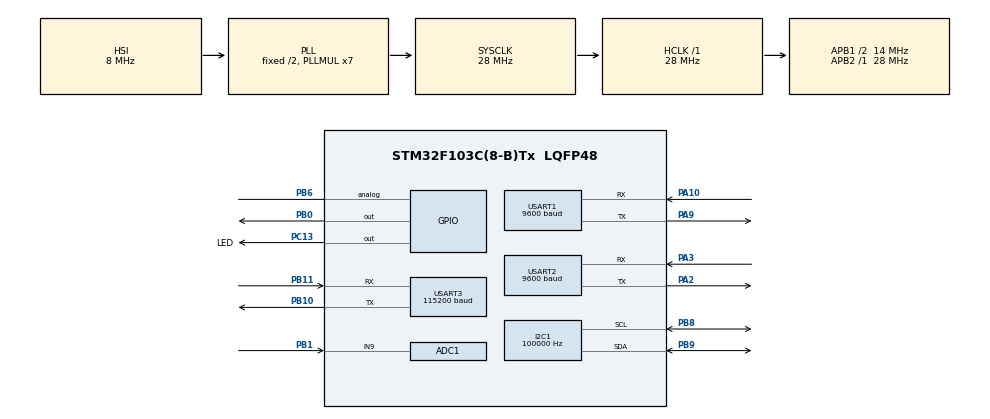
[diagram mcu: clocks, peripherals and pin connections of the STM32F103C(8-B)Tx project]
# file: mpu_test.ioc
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ADC1.Channel-5\#ChannelRegularConversion=ADC_CHANNEL_9
ADC1.ContinuousConvMode=ENABLE
ADC1.DataAlign=ADC_DATAALIGN_RIGHT
ADC1.DiscontinuousConvMode=DISABLE
ADC1.EnableAnalogWatchDog=false
ADC1.EnableRegularConversion=ENABLE
ADC1.ExternalTrigConvEdgeChoice=NONE
ADC1.InjNumberOfConversion=0
ADC1.NbrOfConversion=1
ADC1.NbrOfConversionFlag=1
ADC1.Rank-5\#ChannelRegularConversion=1
ADC1.SamplingTime-5\#ChannelRegularConversion=ADC_SAMPLETIME_1CYCLE_5
ADC1.ScanConvMode=ADC_SCAN_DISABLE
ADC1.master=1
I2C1.ClockSpeed=100000
I2C1.I2C_Mode=I2C_Standard
Mcu.Family=STM32F1
Mcu.Name=STM32F103C(8-B)Tx
Mcu.Package=LQFP48
NVIC.PriorityGroup=NVIC_PRIORITYGROUP_4
NVIC.USART1_IRQn=true\:0\:0\:true\:false\:true
NVIC.USART2_IRQn=true\:0\:0\:false\:false\:true
NVIC.USART3_IRQn=true\:0\:0\:false\:false\:true
PA10.Mode=Asynchronous
PA10.Signal=USART1_RX
PA13.Mode=Serial_Wire
PA13.Signal=SYS_JTMS-SWDIO
PA14.Mode=Serial_Wire
PA14.Signal=SYS_JTCK-SWCLK
PA2.Mode=Asynchronous
PA2.Signal=USART2_TX
PA3.Mode=Asynchronous
PA3.Signal=USART2_RX
PA9.Mode=Asynchronous
PA9.Signal=USART1_TX
PB0.Signal=GPIO_Output
PB1.Signal=ADCx_IN9
PB10.Mode=Asynchronous
PB10.Signal=USART3_TX
PB11.Mode=Asynchronous
PB11.Signal=USART3_RX
PB6.Signal=GPIO_Analog
PB8.Mode=I2C
PB8.Signal=I2C1_SCL
PB9.Mode=I2C
PB9.Signal=I2C1_SDA
PC13-TAMPER-RTC.GPIO_Label=LED
PC13-TAMPER-RTC.GPIO_Speed=GPIO_SPEED_FREQ_MEDIUM
PC13-TAMPER-RTC.Signal=GPIO_Output
ProjectManager.HeapSize=0x200
ProjectManager.StackSize=0x400
ProjectManager.TargetToolchain=MDK-ARM V5
RCC.AHBFreq_Value=28000000
RCC.APB1CLKDivider=RCC_HCLK_DIV2
RCC.APB1Freq_Value=14000000
RCC.APB1TimFreq_Value=28000000
RCC.APB2Freq_Value=28000000
RCC.APB2TimFreq_Value=28000000
RCC.HCLKFreq_Value=28000000
RCC.PLLMUL=RCC_PLL_MUL7
RCC.SYSCLKFreq_VALUE=28000000
RCC.SYSCLKSource=RCC_SYSCLKSOURCE_PLLCLK
RCC.USBFreq_Value=28000000
SH.ADCx_IN9.0=ADC1_IN9,IN9
USART1.BaudRate=9600
USART2.BaudRate=9600
USART3.BaudRate=115200
VP_IWDG_VS_IWDG.Mode=IWDG_Activate
board=mpu_test

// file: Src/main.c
/**
  ******************************************************************************
  * File Name          : main.c
  * Description        : Main program body
  ******************************************************************************
  *
  * COPYRIGHT(c) 2017 STMicroelectronics
  *
  * Redistribution and use in source and binary forms, with or without modification,
  * are permitted provided that the following conditions are met:
  *   1. Redistributions of source code must retain the above copyright notice,
  *      this list of conditions and the following disclaimer.
  *   2. Redistributions in binary form must reproduce the above copyright notice,
  *      this list of conditions and the following disclaimer in the documentation
  *      and/or other materials provided with the distribution.
  *   3. Neither the name of STMicroelectronics nor the names of its contributors
  *      may be used to endorse or promote products derived from this software
  *      without specific prior written permission.
  *
  * THIS SOFTWARE IS PROVIDED BY THE COPYRIGHT HOLDERS AND CONTRIBUTORS "AS IS"
  * AND ANY EXPRESS OR IMPLIED WARRANTIES, INCLUDING, BUT NOT LIMITED TO, THE
  * IMPLIED WARRANTIES OF MERCHANTABILITY AND FITNESS FOR A PARTICULAR PURPOSE ARE
  * DISCLAIMED. IN NO EVENT SHALL THE COPYRIGHT HOLDER OR CONTRIBUTORS BE LIABLE
  * FOR ANY DIRECT, INDIRECT, INCIDENTAL, SPECIAL, EXEMPLARY, OR CONSEQUENTIAL
  * DAMAGES (INCLUDING, BUT NOT LIMITED TO, PROCUREMENT OF SUBSTITUTE GOODS OR
  * SERVICES; LOSS OF USE, DATA, OR PROFITS; OR BUSINESS INTERRUPTION) HOWEVER
  * CAUSED AND ON ANY THEORY OF LIABILITY, WHETHER IN CONTRACT, STRICT LIABILITY,
  * OR TORT (INCLUDING NEGLIGENCE OR OTHERWISE) ARISING IN ANY WAY OUT OF THE USE
  * OF THIS SOFTWARE, EVEN IF ADVISED OF THE POSSIBILITY OF SUCH DAMAGE.
  *
  ******************************************************************************
  */
#include "stm32f1xx_hal.h"

/* USER CODE BEGIN Includes */
#include <stdio.h>
#include <stdbool.h>
//#include <tcp_com.h>
#include <MPU6050.h>
#include <rover_gps.h>
#include <tm_stm32f4_bmp180.h>

#define INDENT_SPACES "  "

/* USER CODE END Includes */

ADC_HandleTypeDef hadc1;

I2C_HandleTypeDef hi2c1;

IWDG_HandleTypeDef hiwdg;

UART_HandleTypeDef huart1;
UART_HandleTypeDef huart2;
UART_HandleTypeDef huart3;

/* USER CODE BEGIN PV */
/* Private variables ---------------------------------------------------------*/
//IMU VARS
imu_data_t data_pack;
bool imu_data_ready = false;
uint_fast32_t g_imu_tick = 0;
uint_fast32_t g_mag_tick = 0;
extern imu_data_t data_buffer;
int g_imu_condition = 1;

//GPS VARS
int i=0;
char buffer[100];
int len;
char Rx_indx, Rx_data[2], Rx_Buffer[100], Transfer_cplt, flag;
TM_GPS_t g_GPS_Data;
TM_GPS_Result_t result, current;
TM_GPS_Float_t GPS_Float;
TM_GPS_Distance_t GPS_Distance;
extern TM_GPS_Data_t TM_GPS_INT_Data;
extern TM_GPS_t GPS_Data;

int uart_listen = 1;
int uart_available = 0;

//BMP VARS
TM_BMP180_t bmp_data_pack;
uint_fast32_t g_bmp_tick = 0;
uint_fast32_t g_bmp_TR = 0;
uint_fast32_t g_bmp_PR = 0;
uint_fast8_t g_bmp_pos = 0;
uint32_t bmp_test[] = {0,0,0};
uint32_t adc_data[2];
char Rx_indx2, Rx_data2[2], Rx_Buffer2[30], Transfer_cplt2;
float probe_temp;
float probe_hum;

//UDP VARS
uint_fast32_t g_udp_tick = 0;

uint_fast8_t g_i2c_busy = 0;
unsigned int LED_POS = 0;
int cnt = 0;

//Auto vars
uint_fast32_t g_auto_tick = 0;
float desiredHeading = 0;
float errorHeading = 0;
float errorDistance = 10;
float KH = 3;
int controlDir = 0;
int controlSpeed = 0;

int new_gps_data_occured = 0;

float desiredCoordinate[10][2];
float fsCoordinate[10][2];

int coordinatesIndex = 0;
int fs_coordinatesIndex = 0;

char Rx_indx3, Rx_data3[2], Rx_Buffer3[30], Transfer_cplt3;
float lat3;
float lon3;

uint32_t fs_timer;
uint8_t fs_preactive_flag = 0;

uint8_t printf_buffer[] = {"B100000E-"};

bool auto_active_flag = false;
bool fs_active_flag = false;
bool auto_delete_flag = false;
bool auto_mission_flag = false;
uint8_t mission_indicator = 0;
int mission_heading_buffer = 0;
bool turnaround_flag = false;
bool target_locked_flag = false;
int target_direction = 0;

uint32_t g_adc_tick = 0;

float fs_distance = 0;
uint32_t g_fs_tick = 0;

uint32_t batt_raw;
float batt;

float initial_coordinates[] = {38.00,-111.00};

uint8_t sc_mode = 'd';
/* USER CODE END PV */

void SystemClock_Config(void);
void Error_Handler(void);
static void MX_GPIO_Init(void);
static void MX_I2C1_Init(void);
static void MX_USART1_UART_Init(void);
static void MX_USART3_UART_Init(void);
static void MX_USART2_UART_Init(void);
static void MX_IWDG_Init(void);
static void MX_ADC1_Init(void);

/* USER CODE BEGIN PFP */
/* Private function prototypes -----------------------------------------------*/
void send_message_to_mc(void);
bool coor_check(float latitude, float longitude);
/* USER CODE END PFP */

/* USER CODE BEGIN 0 */
uint32_t led_timer = 0;
uint8_t led_counter = 0;
uint8_t overshoot_counter = 0;

/* USER CODE END 0 */

int main(void)
{

  /* USER CODE BEGIN 1 */
	char data_str;
	int returnValue = 10;

  /* USER CODE END 1 */

  /* MCU Configuration----------------------------------------------------------*/

  /* Reset of all peripherals, Initializes the Flash interface and the Systick. */
  HAL_Init();

  /* Configure the system clock */
  SystemClock_Config();

  /* Initialize all configured peripherals */
  MX_GPIO_Init();
  MX_I2C1_Init();
  MX_USART1_UART_Init();
  MX_USART3_UART_Init();
  MX_USART2_UART_Init();
  MX_IWDG_Init();
  MX_ADC1_Init();

  /* USER CODE BEGIN 2 */
	imu_begin(&hi2c1, 20u, IMU_GYRO_RANGE_250, IMU_ACC_RANGE_2);
	TM_BMP180_Init(&hi2c1 , &bmp_data_pack);

	HAL_UART_Receive_IT(&huart1, Rx_data, 1);   //activate uart rx interrupt avery time receiving 1 byte
	HAL_UART_Receive_IT(&huart2, Rx_data2, 1);
	HAL_UART_Receive_IT(&huart3, Rx_data3, 1);

  /* USER CODE END 2 */

  /* Infinite loop */
  while (1)
  {

  /* USER CODE BEGIN 3 */
		////////////////////////////////////AUTONOMUS///////////////////////////////////////////

		if(HAL_GetTick() >= led_timer)
		{
			led_timer = HAL_GetTick() + 100;
			if(turnaround_flag)
			{
				sc_mode = 't';
				if((led_counter & 2) == 0)
				{
					HAL_GPIO_WritePin(LED_GPIO_Port, LED_Pin, GPIO_PIN_RESET);
				}
				else
				{
					HAL_GPIO_WritePin(LED_GPIO_Port, LED_Pin, GPIO_PIN_SET);
				}
			}
			else if(auto_active_flag)
			{
				sc_mode = 'a';
				switch(led_counter)
				{
					case 0:
						HAL_GPIO_WritePin(LED_GPIO_Port, LED_Pin, GPIO_PIN_RESET);
						break;
					case 1:
						HAL_GPIO_WritePin(LED_GPIO_Port, LED_Pin, GPIO_PIN_SET);
						break;
				}
			}
			else if(fs_active_flag)
			{
				sc_mode = 'f';
				switch(led_counter)
				{
					case 0:
						HAL_GPIO_WritePin(LED_GPIO_Port, LED_Pin, GPIO_PIN_RESET);
						break;
					case 1:
						HAL_GPIO_WritePin(LED_GPIO_Port, LED_Pin, GPIO_PIN_SET);
						break;
					case 2:
						HAL_GPIO_WritePin(LED_GPIO_Port, LED_Pin, GPIO_PIN_RESET);
						break;
					case 3:
						HAL_GPIO_WritePin(LED_GPIO_Port, LED_Pin, GPIO_PIN_SET);
						break;
				}
			}
			else
			{
				sc_mode = 'd';
				switch(led_counter)
				{
					case 0:
						HAL_GPIO_WritePin(LED_GPIO_Port, LED_Pin, GPIO_PIN_RESET);
						break;
					case 5:
						HAL_GPIO_WritePin(LED_GPIO_Port, LED_Pin, GPIO_PIN_SET);
						break;
				}
			}

			if(led_counter >= 9)
			{
				led_counter = 0;
			}
			else
			{
				led_counter++;
			}
		}

		if (((HAL_GetTick() - g_auto_tick) > 100) && (auto_active_flag || fs_active_flag))
		{
			g_auto_tick = HAL_GetTick();
//			if(target_locked_flag)
//			{
//				desiredHeading = target_direction + (int)data_buffer.imu_data_Z;
//				turnaround_flag = false;
//			}
//			else if(turnaround_flag)
//			{
//				desiredHeading = (int)(data_buffer.imu_data_Z + 90) % 360;
//				int heading_error =  mission_heading_buffer - data_buffer.imu_data_Z;
//				if((heading_error > -15) && (heading_error < -5))
//				{
//					turnaround_flag = false;
//					mission_indicator = 0;
//				}
//			}
			if(auto_active_flag)
			{
				if((new_gps_data_occured == 1) && (coor_check(TM_GPS_INT_Data.Latitude, TM_GPS_INT_Data.Longitude)))
				{
					new_gps_data_occured = 0;
					desiredHeading = 360 + atan2(desiredCoordinate[0][1] - TM_GPS_INT_Data.Longitude, desiredCoordinate[0][0] - TM_GPS_INT_Data.Latitude) * (180/3.1416);
					errorDistance = sqrt(((TM_GPS_INT_Data.Latitude - desiredCoordinate[0][0]) * (TM_GPS_INT_Data.Latitude - desiredCoordinate[0][0])) + ((TM_GPS_INT_Data.Longitude - desiredCoordinate[0][1]) * (TM_GPS_INT_Data.Longitude - desiredCoordinate[0][1]))) * 111000;

					if(errorDistance < 3)
					{
						if(auto_mission_flag)
						{
							mission_indicator = 1;
							turnaround_flag = true;
							mission_heading_buffer = (int)data_buffer.imu_data_Z;
						}
						for(int l = 1; l < 9 ; l++)
						{

							desiredCoordinate[l - 1][1] = desiredCoordinate[l][1];
							desiredCoordinate[l - 1][0] = desiredCoordinate[l][0];
						}
						if(coordinatesIndex > 0)
						{
							coordinatesIndex--;
						}
						else if(coordinatesIndex == 0)
						{
							auto_active_flag = false;
						}
					}
				}
				else if(new_gps_data_occured == 1)
				{
					new_gps_data_occured = 0;
				}
			}

			else if(fs_active_flag)
			{
				if((new_gps_data_occured == 1) && (coor_check(TM_GPS_INT_Data.Latitude, TM_GPS_INT_Data.Longitude)))
				{
					new_gps_data_occured = 0;
					desiredHeading = 360 + atan2(fsCoordinate[0][1] - TM_GPS_INT_Data.Longitude, fsCoordinate[0][0] - TM_GPS_INT_Data.Latitude) * (180/3.1416);
					errorDistance = sqrt(((TM_GPS_INT_Data.Latitude - fsCoordinate[0][0]) * (TM_GPS_INT_Data.Latitude - fsCoordinate[0][0])) + ((TM_GPS_INT_Data.Longitude - fsCoordinate[0][1]) * (TM_GPS_INT_Data.Longitude - fsCoordinate[0][1]))) * 111000;

					if(errorDistance < 2)
					{
						for(int l = 1; l < 9 ; l++)
						{
							fsCoordinate[l - 1][1] = fsCoordinate[l][1];
							fsCoordinate[l - 1][0] = fsCoordinate[l][0];
						}
						if(fs_coordinatesIndex > 0)
						{
							fs_coordinatesIndex--;
						}
						else if(fs_coordinatesIndex == 0)
						{
							fs_active_flag = false;
						}
					}
				}
				else if(new_gps_data_occured == 1)
				{
					new_gps_data_occured = 0;
				}
			}

			errorHeading = desiredHeading - data_buffer.imu_data_Z;
			if(errorHeading > 180)
			{
				errorHeading = errorHeading - 360;
			}
			controlDir = KH * errorHeading;

			controlSpeed = 100 - abs((int)(errorHeading * 5));

			//CONSTRAIN DIR
			if(controlDir > 99)
			{
				controlDir = 99;
			}
			else if(controlDir < -99)
			{
				controlDir = -99;
			}

			//CONSTARIN SPEED
			if(controlSpeed > 99)
			{
				controlSpeed = 99;
			}
			else if(controlSpeed < 0)
			{
				controlSpeed = 0;
			}

			if(auto_active_flag && coordinatesIndex == 0)
			{
				auto_active_flag = false;
			}
			if(fs_active_flag && fs_coordinatesIndex == 0)
			{
				//fs_active_flag = false;
			}

			if(auto_active_flag ||  fs_active_flag)
			{
				//target_locked_flag=false;
				send_message_to_mc();
			}
		}

//	if ((HAL_GetTick() - g_imu_tick) > 2)
//	{
//		g_imu_tick = HAL_GetTick();
//		if(adc_data[0] > 2000)
//		{
//			HAL_GPIO_WritePin(GPIOB, GPIO_PIN_0, GPIO_PIN_RESET);
//		}
//		else
//		{
//			HAL_GPIO_WritePin(GPIOB, GPIO_PIN_0, GPIO_PIN_SET);
//		}
//		//imu_read_data();
//		//send_message_to_mc();
//	}

		if (((HAL_GetTick() - g_mag_tick) > 20))
		{
			g_mag_tick = HAL_GetTick();
			magnet_read_data();
		}

		if (((HAL_GetTick() - g_bmp_tick) > 300) && (g_bmp_pos == 0))
		{
			bmp_test[0] = HAL_GetTick();
			TM_BMP180_StartTemperature(&bmp_data_pack);
			g_bmp_tick = HAL_GetTick();
			g_bmp_TR = HAL_GetTick() + 7;
			g_bmp_pos = 1;

		}
		if ((HAL_GetTick() >= g_bmp_TR) && (g_bmp_pos == 1))
		{
			bmp_test[1] = HAL_GetTick();
			TM_BMP180_ReadTemperature(&bmp_data_pack);
			TM_BMP180_StartPressure(&bmp_data_pack, TM_BMP180_Oversampling_UltraHighResolution);
			g_bmp_PR = HAL_GetTick() + 27;
			g_bmp_pos = 2;
		}
		if ((HAL_GetTick() >= g_bmp_PR) && (g_bmp_pos == 2))
		{
			bmp_test[2] = HAL_GetTick();
			TM_BMP180_ReadPressure(&bmp_data_pack);
			g_bmp_pos = 0;
		}

		if ((HAL_GetTick() - g_udp_tick) > 1000)
		{
			uint8_t print_buffer[100];
			g_udp_tick = HAL_GetTick();

//			HAL_ADC_Start(&hadc1);
//			HAL_ADC_PollForConversion(&hadc1, 100);
//			batt_raw = HAL_ADC_GetValue(&hadc1);
//			batt = ((float)batt_raw / 4096.00) * 33;
//			HAL_ADC_Stop(&hadc1);

			int print_size = sprintf(print_buffer, "SC,%d,%3.2f,%d,%3.2f,%3.2f,%f,%f,%3.2f,%3.2f,%3.2f,%3.2f,ITU\n",\
			bmp_data_pack.Pressure, bmp_data_pack.Temperature, mission_indicator, data_buffer.imu_data_Y, \
			data_buffer.imu_data_Z, TM_GPS_INT_Data.Latitude, TM_GPS_INT_Data.Longitude, TM_GPS_INT_Data.VDOP, \
			TM_GPS_INT_Data.Altitude, TM_GPS_INT_Data.Speed, batt);
			HAL_UART_Transmit(&huart3, print_buffer, print_size, 100);
			print_size = sprintf(print_buffer, "%c,%d,%f3.2,%f,%f\r\n", sc_mode,coordinatesIndex,errorDistance, TM_GPS_INT_Data.Latitude, TM_GPS_INT_Data.Longitude);
			HAL_UART_Transmit(&huart2, print_buffer, print_size, 100);
		}

		if ((HAL_GetTick() - g_fs_tick) > 2000)
		{
			g_fs_tick = HAL_GetTick();
			if(coor_check(TM_GPS_INT_Data.Latitude, TM_GPS_INT_Data.Longitude))
			{
				fs_distance = sqrt(((TM_GPS_INT_Data.Latitude - fsCoordinate[0][0]) * (TM_GPS_INT_Data.Latitude - fsCoordinate[0][0])) + ((TM_GPS_INT_Data.Longitude - fsCoordinate[0][1]) * (TM_GPS_INT_Data.Longitude - fsCoordinate[0][1]))) * 111000;
				if((fs_distance > 15) && (!fs_active_flag))
				{
					int m = 0;
					for(int m = 8; m >= 0; m--)
					{
						fsCoordinate[m + 1][1] = fsCoordinate[m][1];
						fsCoordinate[m + 1][0] = fsCoordinate[m][0];
					}
					fsCoordinate[0][0] = TM_GPS_INT_Data.Latitude;
					fsCoordinate[0][1] = TM_GPS_INT_Data.Longitude;
					if(fs_coordinatesIndex < 9)
					{
						fs_coordinatesIndex++;
					}
				}
			}
		}

				if (Transfer_cplt)
        {
						Rx_Buffer[3] = 'P';
            read_gps_data(Transfer_cplt, Rx_Buffer ,buffer,GPS_Float);
            Transfer_cplt=0;
						new_gps_data_occured = 1;
        }

				/////////LORA/////////////
				if (Transfer_cplt2)
        {
          Transfer_cplt2 = 0;
					switch(Rx_Buffer2[0])
					{
						case 's':
							auto_active_flag = false;
							break;
						case 'g':
							auto_active_flag = true;
							break;
						case 'd':
 							coordinatesIndex = 0;
							break;
						case 'a':
							fs_active_flag = false;
							fs_preactive_flag = 0;
							break;
						default:
							lon3 = atof(Rx_Buffer2);
							for (int l = 0; l < 25; l++)
							{
								if (Rx_Buffer2[l] == ',')
								{
									lat3 = atof(&Rx_Buffer2[l+1]);
									break;
								}
							}
							break;
					}
					if(coor_check(lat3, lon3))
					{
						if(coordinatesIndex == 0)
						{
							desiredCoordinate[0][0] = lat3;
							desiredCoordinate[0][1] = lon3;
							coordinatesIndex++;
						}
						else if((coordinatesIndex <= 9) && (lon3 != desiredCoordinate[coordinatesIndex - 1][0]) && (lat3 != desiredCoordinate[coordinatesIndex - 1][1]))
						{
							desiredCoordinate[coordinatesIndex][0] = lat3;
							desiredCoordinate[coordinatesIndex][1] = lon3;
							coordinatesIndex++;
						}
					}
					lat3 = 0;
					lon3 = 0;
        }

				//////////TCP////////////////
				if(Transfer_cplt3)
				{
 					Transfer_cplt3 = 0;

					switch(Rx_Buffer3[0])
					{
						case 's':
							auto_active_flag = false;
							break;
						case 'g':
							auto_active_flag = true;
							break;
						case 'd':
							coordinatesIndex = 0;
							break;
						case 'l':
							if(Rx_Buffer3[1] == 'o')
							{
								fs_preactive_flag = 1;
								fs_timer = HAL_GetTick() + 5000;
							}
							break;
						case 'o':
							fs_preactive_flag = 0;
							fs_active_flag = false;
							break;
						case 'T':
							target_direction = atoi(&Rx_Buffer3[1]);
							target_locked_flag = true;
							break;
						default:
							lon3 = atof(Rx_Buffer3);
 							for (int l = 0; l < 25; l++)
							{
								if (Rx_Buffer3[l] == ',')
								{
									lat3 = atof(&Rx_Buffer3[l+1]);
									break;
								}
							}
							break;
					}

					if(coor_check(lat3, lon3))
					{
						if(coordinatesIndex == 0)
						{
							desiredCoordinate[0][0] = lat3;
							desiredCoordinate[0][1] = lon3;
							coordinatesIndex++;
						}
						else if((coordinatesIndex <= 9) && (lon3 != desiredCoordinate[coordinatesIndex - 1][0]) && (lat3 != desiredCoordinate[coordinatesIndex - 1][1]))
						{
							desiredCoordinate[coordinatesIndex][0] = lat3;
							desiredCoordinate[coordinatesIndex][1] = lon3;
							coordinatesIndex++;
						}
					}
					lat3 = 0;
					lon3 = 0;
        }

					if((fs_preactive_flag == 1) && (HAL_GetTick() >= fs_timer))
					{
						HAL_UART_Transmit(&huart2, "com_c\r\n", 7, 100);
						fs_timer = fs_timer + 3000;
						fs_preactive_flag = 2;
					}
					else if(fs_preactive_flag == 2 && (HAL_GetTick() > fs_timer))
					{
						fs_active_flag = true;
						fs_preactive_flag = 0;
					}

  }

  /* USER CODE END 3 */

}

/** System Clock Configuration
*/
void SystemClock_Config(void)
{

  RCC_OscInitTypeDef RCC_OscInitStruct;
  RCC_ClkInitTypeDef RCC_ClkInitStruct;
  RCC_PeriphCLKInitTypeDef PeriphClkInit;

  RCC_OscInitStruct.OscillatorType = RCC_OSCILLATORTYPE_HSI|RCC_OSCILLATORTYPE_LSI;
  RCC_OscInitStruct.HSIState = RCC_HSI_ON;
  RCC_OscInitStruct.HSICalibrationValue = 16;
  RCC_OscInitStruct.LSIState = RCC_LSI_ON;
  RCC_OscInitStruct.PLL.PLLState = RCC_PLL_ON;
  RCC_OscInitStruct.PLL.PLLSource = RCC_PLLSOURCE_HSI_DIV2;
  RCC_OscInitStruct.PLL.PLLMUL = RCC_PLL_MUL7;
  if (HAL_RCC_OscConfig(&RCC_OscInitStruct) != HAL_OK)
  {
    Error_Handler();
  }

  RCC_ClkInitStruct.ClockType = RCC_CLOCKTYPE_HCLK|RCC_CLOCKTYPE_SYSCLK
                              |RCC_CLOCKTYPE_PCLK1|RCC_CLOCKTYPE_PCLK2;
  RCC_ClkInitStruct.SYSCLKSource = RCC_SYSCLKSOURCE_PLLCLK;
  RCC_ClkInitStruct.AHBCLKDivider = RCC_SYSCLK_DIV1;
  RCC_ClkInitStruct.APB1CLKDivider = RCC_HCLK_DIV2;
  RCC_ClkInitStruct.APB2CLKDivider = RCC_HCLK_DIV1;
  if (HAL_RCC_ClockConfig(&RCC_ClkInitStruct, FLASH_LATENCY_1) != HAL_OK)
  {
    Error_Handler();
  }

  PeriphClkInit.PeriphClockSelection = RCC_PERIPHCLK_ADC;
  PeriphClkInit.AdcClockSelection = RCC_ADCPCLK2_DIV2;
  if (HAL_RCCEx_PeriphCLKConfig(&PeriphClkInit) != HAL_OK)
  {
    Error_Handler();
  }

  HAL_SYSTICK_Config(HAL_RCC_GetHCLKFreq()/1000);

  HAL_SYSTICK_CLKSourceConfig(SYSTICK_CLKSOURCE_HCLK);

  /* SysTick_IRQn interrupt configuration */
  HAL_NVIC_SetPriority(SysTick_IRQn, 0, 0);
}

/* ADC1 init function */
static void MX_ADC1_Init(void)
{

  ADC_ChannelConfTypeDef sConfig;

    /**Common config
    */
  hadc1.Instance = ADC1;
  hadc1.Init.ScanConvMode = ADC_SCAN_DISABLE;
  hadc1.Init.ContinuousConvMode = ENABLE;
  hadc1.Init.DiscontinuousConvMode = DISABLE;
  hadc1.Init.ExternalTrigConv = ADC_SOFTWARE_START;
  hadc1.Init.DataAlign = ADC_DATAALIGN_RIGHT;
  hadc1.Init.NbrOfConversion = 1;
  if (HAL_ADC_Init(&hadc1) != HAL_OK)
  {
    Error_Handler();
  }

    /**Configure Regular Channel
    */
  sConfig.Channel = ADC_CHANNEL_9;
  sConfig.Rank = 1;
  sConfig.SamplingTime = ADC_SAMPLETIME_1CYCLE_5;
  if (HAL_ADC_ConfigChannel(&hadc1, &sConfig) != HAL_OK)
  {
    Error_Handler();
  }

}

/* I2C1 init function */
static void MX_I2C1_Init(void)
{

  hi2c1.Instance = I2C1;
  hi2c1.Init.ClockSpeed = 100000;
  hi2c1.Init.DutyCycle = I2C_DUTYCYCLE_2;
  hi2c1.Init.OwnAddress1 = 0;
  hi2c1.Init.AddressingMode = I2C_ADDRESSINGMODE_7BIT;
  hi2c1.Init.DualAddressMode = I2C_DUALADDRESS_DISABLE;
  hi2c1.Init.OwnAddress2 = 0;
  hi2c1.Init.GeneralCallMode = I2C_GENERALCALL_DISABLE;
  hi2c1.Init.NoStretchMode = I2C_NOSTRETCH_DISABLE;
  if (HAL_I2C_Init(&hi2c1) != HAL_OK)
  {
    Error_Handler();
  }

}

/* IWDG init function */
static void MX_IWDG_Init(void)
{

  hiwdg.Instance = IWDG;
  hiwdg.Init.Prescaler = IWDG_PRESCALER_4;
  hiwdg.Init.Reload = 4095;
  if (HAL_IWDG_Init(&hiwdg) != HAL_OK)
  {
    Error_Handler();
  }

}

/* USART1 init function */
static void MX_USART1_UART_Init(void)
{

  huart1.Instance = USART1;
  huart1.Init.BaudRate = 9600;
  huart1.Init.WordLength = UART_WORDLENGTH_8B;
  huart1.Init.StopBits = UART_STOPBITS_1;
  huart1.Init.Parity = UART_PARITY_NONE;
  huart1.Init.Mode = UART_MODE_TX_RX;
  huart1.Init.HwFlowCtl = UART_HWCONTROL_NONE;
  huart1.Init.OverSampling = UART_OVERSAMPLING_16;
  if (HAL_UART_Init(&huart1) != HAL_OK)
  {
    Error_Handler();
  }

}

/* USART2 init function */
static void MX_USART2_UART_Init(void)
{

  huart2.Instance = USART2;
  huart2.Init.BaudRate = 9600;
  huart2.Init.WordLength = UART_WORDLENGTH_8B;
  huart2.Init.StopBits = UART_STOPBITS_1;
  huart2.Init.Parity = UART_PARITY_NONE;
  huart2.Init.Mode = UART_MODE_TX_RX;
  huart2.Init.HwFlowCtl = UART_HWCONTROL_NONE;
  huart2.Init.OverSampling = UART_OVERSAMPLING_16;
  if (HAL_UART_Init(&huart2) != HAL_OK)
  {
    Error_Handler();
  }

}

/* USART3 init function */
static void MX_USART3_UART_Init(void)
{

  huart3.Instance = USART3;
  huart3.Init.BaudRate = 115200;
  huart3.Init.WordLength = UART_WORDLENGTH_8B;
  huart3.Init.StopBits = UART_STOPBITS_1;
  huart3.Init.Parity = UART_PARITY_NONE;
  huart3.Init.Mode = UART_MODE_TX_RX;
  huart3.Init.HwFlowCtl = UART_HWCONTROL_NONE;
  huart3.Init.OverSampling = UART_OVERSAMPLING_16;
  if (HAL_UART_Init(&huart3) != HAL_OK)
  {
    Error_Handler();
  }

}

/** Configure pins as
        * Analog
        * Input
        * Output
        * EVENT_OUT
        * EXTI
*/
static void MX_GPIO_Init(void)
{

  GPIO_InitTypeDef GPIO_InitStruct;

  /* GPIO Ports Clock Enable */
  __HAL_RCC_GPIOC_CLK_ENABLE();
  __HAL_RCC_GPIOA_CLK_ENABLE();
  __HAL_RCC_GPIOB_CLK_ENABLE();

  /*Configure GPIO pin Output Level */
  HAL_GPIO_WritePin(LED_GPIO_Port, LED_Pin, GPIO_PIN_RESET);

  /*Configure GPIO pin Output Level */
  HAL_GPIO_WritePin(GPIOB, GPIO_PIN_0, GPIO_PIN_RESET);

  /*Configure GPIO pin : LED_Pin */
  GPIO_InitStruct.Pin = LED_Pin;
  GPIO_InitStruct.Mode = GPIO_MODE_OUTPUT_PP;
  GPIO_InitStruct.Speed = GPIO_SPEED_FREQ_MEDIUM;
  HAL_GPIO_Init(LED_GPIO_Port, &GPIO_InitStruct);

  /*Configure GPIO pin : PB0 */
  GPIO_InitStruct.Pin = GPIO_PIN_0;
  GPIO_InitStruct.Mode = GPIO_MODE_OUTPUT_PP;
  GPIO_InitStruct.Speed = GPIO_SPEED_FREQ_LOW;
  HAL_GPIO_Init(GPIOB, &GPIO_InitStruct);

  /*Configure GPIO pin : PB6 */
  GPIO_InitStruct.Pin = GPIO_PIN_6;
  GPIO_InitStruct.Mode = GPIO_MODE_ANALOG;
  HAL_GPIO_Init(GPIOB, &GPIO_InitStruct);

}

/* USER CODE BEGIN 4 */

void send_message_to_mc(void)
{

		printf_buffer[8] = 0x0A;

		if(controlSpeed == 0)
		{
			sprintf(&printf_buffer[2], "00");
		}
		else if(controlSpeed < 10 && controlSpeed > -10)
		{
			sprintf(&printf_buffer[2], "0%d", abs(controlSpeed));
		}
		else
		{
			sprintf(&printf_buffer[2], "%d", abs(controlSpeed));
		}

		if(controlDir < 0)
		{
			sprintf(&printf_buffer[4], "1");
		}
		else
		{
			sprintf(&printf_buffer[4], "0");
		}

		if(controlDir == 0)
		{
			sprintf(&printf_buffer[5], "00");
		}
		else if(controlDir < 10 && controlDir > -10)
		{
			sprintf(&printf_buffer[5], "0%d", abs(controlDir));
		}
		else
		{
			sprintf(&printf_buffer[5], "%d", abs(controlDir));
		}
		printf_buffer[7] = 'E';
		HAL_UART_Transmit_IT(&huart1, printf_buffer, 9);

}

void HAL_I2C_MemRxCpltCallback(I2C_HandleTypeDef *hi2c)
{
	//imu_rx_cplt_callback();
}

void HAL_UART_RxCpltCallback(UART_HandleTypeDef *huart)
{
	uint8_t i;
	flag=1;
	if (huart->Instance == USART1)   //current UART
			{
			if (Rx_data[0]!=13) //if received data different from ascii 13 (enter)
					{
					Rx_Buffer[Rx_indx++]=Rx_data[0];    //add data to Rx_Buffer
					}
			else            //if received data = 13
					{
					Rx_indx=0;
					Transfer_cplt=1;//transfer complete, data is ready to read
					}
			HAL_UART_Receive_IT(&huart1, Rx_data, 1);
			}

			if (huart->Instance == USART2)   //current UART
			{
			if (Rx_data2[0]!= 0x0A) //if received data different from ascii 13 (enter)
					{
					Rx_Buffer2[Rx_indx2++]=Rx_data2[0];    //add data to Rx_Buffer
					}
			else            //if received data = 13
					{
					Rx_indx2++;
					//Rx_Buffer2[Rx_indx2] = ',';
					Rx_indx2=0;
					Transfer_cplt2=1;//transfer complete, data is ready to read
					}
				HAL_UART_Receive_IT(&huart2, Rx_data2, 1);
				}

			if (huart->Instance == USART3)   //current UART
			{
			if (Rx_data3[0]!= 0x0A) //if received data different from ascii 13 (enter)
					{
					Rx_Buffer3[Rx_indx3++]=Rx_data3[0];    //add data to Rx_Buffer
					}
			else            //if received data = 13
					{
					Rx_indx3++;
					Rx_Buffer3[Rx_indx3 - 1] = ',';
					Rx_indx3=0;
					Transfer_cplt3=1;//transfer complete, data is ready to read
					}
			HAL_UART_Receive_IT(&huart3, Rx_data3, 1);
			}
}

void imu_data_ready_callback(imu_data_t data)
{
//	imu_data_ready = true;
//	data_pack = data;
}

bool coor_check(float latitude, float longitude)
{
	if((latitude < initial_coordinates[0] + 3) && (latitude > initial_coordinates[0] - 3)\
		&& (longitude < initial_coordinates[1] + 3) && (longitude > initial_coordinates[1] - 3))
	{
		return true;
	}
	else
	{
		return false;
	}
}

/* USER CODE END 4 */

void Error_Handler(void)
{
  while(1)
  {
  }
}

/************************ (C) COPYRIGHT STMicroelectronics *****END OF FILE****/
